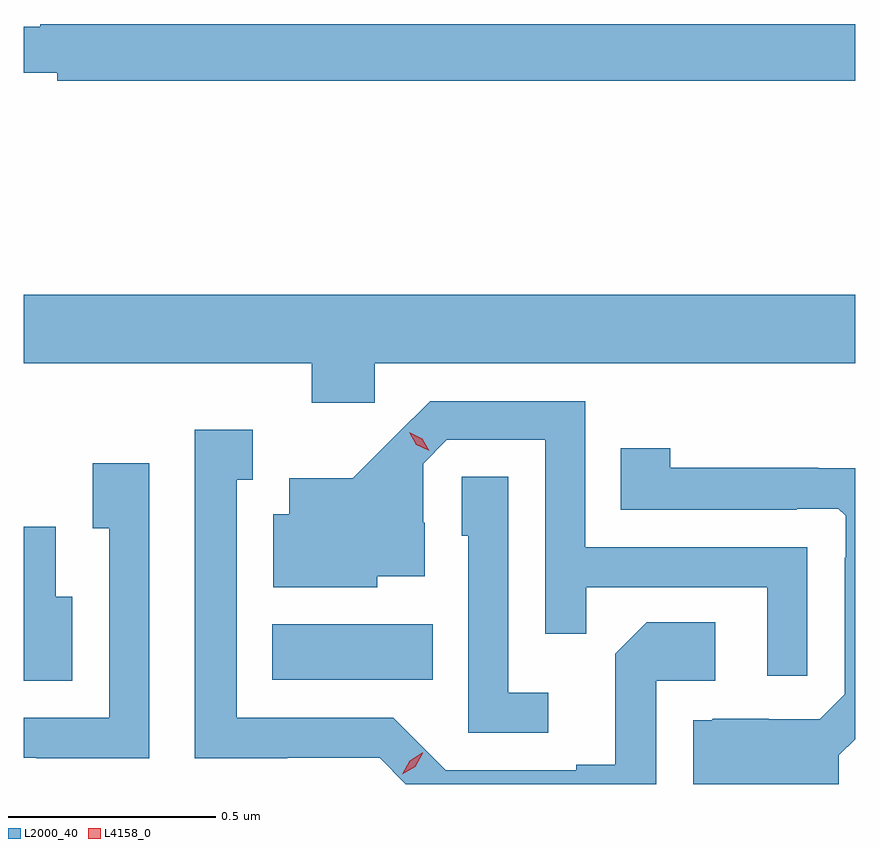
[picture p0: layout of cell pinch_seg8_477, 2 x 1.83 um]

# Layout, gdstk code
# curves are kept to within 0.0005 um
import gdstk
lib = gdstk.Library(unit=1e-6, precision=1e-09)
def R(c, l, rs):  # rectangles x0, y0, x1, y1
    for r in rs: c.add(gdstk.rectangle(r[:2], r[2:], *l))
def P(c, l, *ps):  # polygons
    for p in ps: c.add(gdstk.Polygon(p, *l))
L2000_40 = (2000, 40)
L4158_0 = (4158, 0)

pinch_seg8_477 = lib.new_cell('pinch_seg8_477')
R(pinch_seg8_477, L2000_40, [(117.833,1134.386,118.22,1134.52)])
P(pinch_seg8_477, L2000_40, [(119.236,1135.964),(117.275,1135.964),(117.275,1135.957),(117.236,1135.957),(117.236,1135.847),(117.316,1135.847),(117.316,1135.828),(119.236,1135.828)],
  [(118.08,1135.148),(119.236,1135.148),(119.236,1135.312),(117.236,1135.312),(117.236,1135.148),(117.929,1135.148),(117.929,1135.053),(118.08,1135.053)],
  [(119.121,1134.705),(118.587,1134.705),(118.587,1135.056),(118.214,1135.056),(118.027,1134.871),(117.875,1134.871),(117.875,1134.784),(117.836,1134.784),(117.836,1134.608),(118.086,1134.608),(118.086,1134.635),(118.201,1134.635),(118.201,1134.764),(118.197,1134.764),(118.197,1134.906),(118.254,1134.963),(118.491,1134.963),(118.491,1134.496),(118.589,1134.496),(118.589,1134.609),(119.025,1134.609),(119.025,1134.396),(119.121,1134.396)],
  [(118.758,1134.384),(118.9,1134.384),(118.9,1134.524),(118.735,1134.524),(118.659,1134.448),(118.659,1134.181),(118.565,1134.181),(118.565,1134.168),(118.251,1134.168),(118.125,1134.294),(117.748,1134.294),(117.748,1134.867),(117.787,1134.867),(117.787,1134.988),(117.647,1134.988),(117.647,1134.197),(117.87,1134.197),(117.87,1134.198),(118.092,1134.198),(118.155,1134.135),(118.758,1134.135)],
  [(119.197,1134.204),(119.236,1134.243),(119.236,1134.895),(119.147,1134.895),(119.147,1134.896),(118.791,1134.896),(118.791,1134.943),(118.672,1134.943),(118.672,1134.795),(119.096,1134.795),(119.096,1134.798),(119.196,1134.798),(119.214,1134.78),(119.214,1134.68),(119.211,1134.68),(119.211,1134.351),(119.151,1134.291),(119.028,1134.291),(119.028,1134.292),(118.894,1134.292),(118.891,1134.289),(118.847,1134.289),(118.847,1134.135),(119.197,1134.135)],
  [(117.537,1134.907),(117.401,1134.907),(117.401,1134.751),(117.441,1134.751),(117.441,1134.294),(117.236,1134.294),(117.236,1134.198),(117.265,1134.198),(117.265,1134.197),(117.537,1134.197)],
  [(118.498,1134.355),(118.401,1134.355),(118.401,1134.875),(118.29,1134.875),(118.29,1134.732),(118.305,1134.732),(118.305,1134.258),(118.498,1134.258)],
  [(117.352,1134.586),(117.313,1134.586),(117.313,1134.754),(117.236,1134.754),(117.236,1134.383),(117.352,1134.383)])
P(pinch_seg8_477, L4158_0, [(118.211,1134.937),(118.18,1134.952),(118.163,1134.981),(118.163,1134.981),(118.163,1134.981),(118.194,1134.966),(118.211,1134.937),(118.211,1134.937)],
  [(118.146,1134.159),(118.146,1134.159),(118.164,1134.191),(118.195,1134.21),(118.196,1134.21),(118.196,1134.209),(118.178,1134.177),(118.146,1134.159)])

lib.write_gds('pinch_seg8_477.gds')
